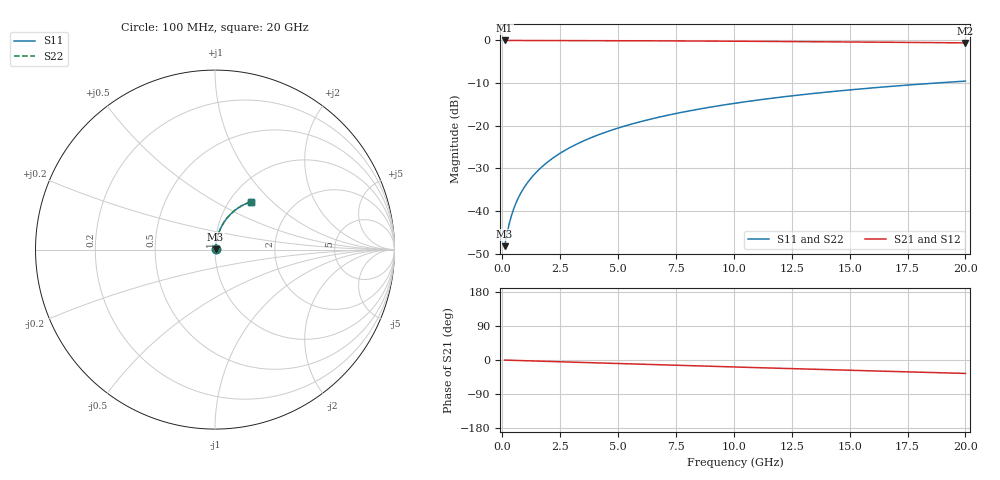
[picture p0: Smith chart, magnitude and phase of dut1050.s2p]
! Touchstone file exported from HFSS 2026.1.0
!  File:  C:/ffzhzh/LocalFiles/Ansys_Project_Files/temp_train_BSMRDL_1050_1783173911_51560.aedt
!  Generated:  10:06:31 PM Jul  4, 2026
!  Design:  BSMRDL
!  Project:  temp_train_BSMRDL_1050_1783173911_51560
! Variables:
!  h_bsmrdl = 2.26um
!  h_ox = 20um
!  h_rdl = 5um
!  h_sub = 80um
!  h_tmrdl = 5um
!  h_tsv = 80um
!  h_via = 3um
!  l_bsmrdl = 488.65um
!  l_sub = 888.65um
!  l_tmrdl = 200um
!  m_sub = 200um
!  pitch = 53.11um
!  r_tsv = 6um
!  s_tmrdl = 10um
!  w_bsmrdl = 26.33um
!  w_sub = 500um
!  w_tmrdl = 12um
!  x_tsv_center1 = 206um
!  x_tsv_center2 = 720.98um
!  x_tsv_center3 = 932.98um
!  x_tsv_center4 = 1447.96um
!  x_tsv_center5 = 1659.96um
!  x_tsv_center6 = 2174.94um
# GHz S MA R 50.000000
! Terminal data exported
! Port[1] = BSM_RDL1_1_T1
! Port[2] = BSM_RDL1_1_T2
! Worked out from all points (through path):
!   200 points, 100 MHz to 20 GHz, reference 50 ohm
!   highest |S21| = -0.03 dB at 100 MHz (marker M1); lowest = -0.6 dB at 20 GHz (marker M2)
!   group delay of S21, straight-line fit = 4.93 ps
!   lowest |S11| = -48.2 dB at 100 MHz (marker M3), VSWR 1.01, Z = 50.3 + j0.212 ohm
!   |S11| at or under -10 dB: start of sweep to 18.72 GHz
!   |S22| runs from -48.2 to -9.5 dB; largest |S21 - S12| = 3e-15
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0.1  0.003897 32.6  0.9967 -0.2  0.9967 -0.2  0.003897 32.6
! Gamma 0 0 0 0
! Port Impedance 50 0 50 0
0.2  0.005381 50.8  0.9966 -0.4  0.9966 -0.4  0.005381 50.8
0.3  0.007139 59.9  0.9965 -0.6  0.9965 -0.6  0.007139 59.9
0.4  0.008966 65.1  0.9963 -0.8  0.9963 -0.8  0.008966 65.1
0.5  0.0108 68.5  0.9962 -1.0  0.9962 -1.0  0.0108 68.5
0.6  0.01264 70.8  0.996 -1.2  0.996 -1.2  0.01264 70.8
0.8  0.01629 73.9  0.9958 -1.5  0.9958 -1.5  0.01629 73.9
1.1  0.02178 76.6  0.9955 -2.1  0.9955 -2.1  0.02178 76.6
1.3  0.02546 77.7  0.9953 -2.5  0.9953 -2.5  0.02546 77.7
1.6  0.031 78.8  0.9951 -3.0  0.9951 -3.0  0.031 78.8
2.1  0.04029 79.6  0.9947 -3.9  0.9947 -3.9  0.04029 79.6
2.7  0.05146 79.8  0.994 -5.1  0.994 -5.1  0.05146 79.8
3.5  0.06633 79.3  0.993 -6.5  0.993 -6.5  0.06634 79.3
4.2  0.0793 78.6  0.992 -7.8  0.992 -7.8  0.0793 78.6
5  0.09403 77.6  0.9905 -9.3  0.9905 -9.3  0.09404 77.6
5.9  0.1105 76.3  0.9886 -11.0  0.9886 -11.0  0.1105 76.3
6.8  0.1267 74.9  0.9864 -12.6  0.9864 -12.6  0.1267 74.9
8.3  0.1533 72.5  0.9823 -15.3  0.9823 -15.3  0.1533 72.5
10.1  0.1843 69.4  0.9765 -18.6  0.9765 -18.6  0.1843 69.5
13.4  0.2383 63.9  0.9639 -24.4  0.9639 -24.4  0.2383 63.9
16.7  0.288 58.4  0.9495 -30.0  0.9495 -30.0  0.288 58.4
20  0.3332 53.1  0.9341 -35.4  0.9341 -35.4  0.3332 53.1
